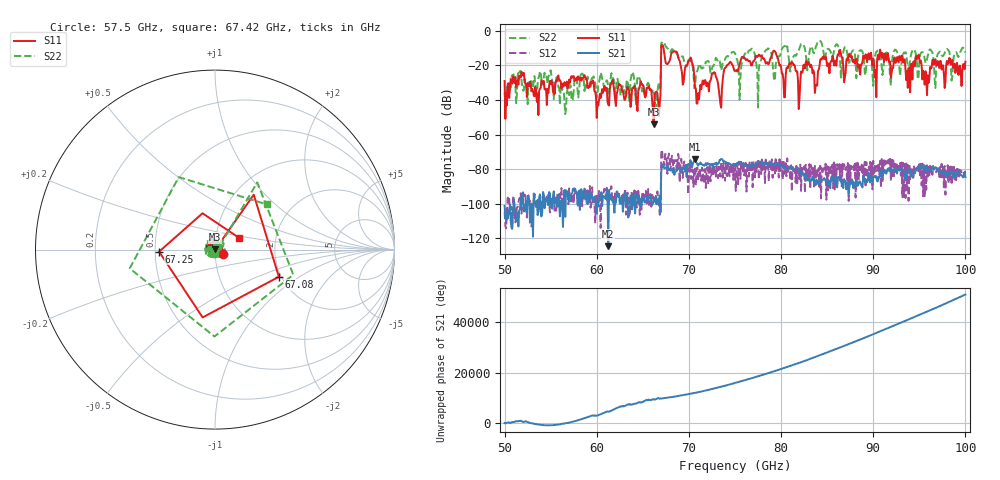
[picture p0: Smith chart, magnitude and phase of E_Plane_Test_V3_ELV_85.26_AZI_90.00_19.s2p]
! 11/26/2026 4:12:07 PM
! C:\ANRITSUVNA\TEMP\TEMP.S2P
! CHANNEL.1
! TR.MEASUREMENT
! RAW.DATA
# HZ S RI R 50.0
! FREQ.HZ  S11RE  S11IM  S21RE  S21IM  S12RE  S12IM  S22RE  S22IM
!; PortSelection: Port_12
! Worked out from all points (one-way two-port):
!   601 points, 50 GHz to 100 GHz, reference 50 ohm
!   highest |S21| = -74.02 dB at 70.67 GHz (marker M1); lowest = -124.4 dB at 61.25 GHz (marker M2)
!   lowest |S11| = -54.0 dB at 66.17 GHz (marker M3), VSWR 1.00, Z = 50.1 + j0.144 ohm
!   |S11| at or under -10 dB: start of sweep to 67 GHz; 67.24 GHz to end of sweep
!   |S22| runs from -48.1 to -5.6 dB; largest |S21 - S12| = 0.00035
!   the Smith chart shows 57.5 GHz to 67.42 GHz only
!   S11 on the Smith chart (normalised r, x): 57.5 GHz: 1.09, -0.05; 67.08 GHz: 1.94, -0.69; 67.25 GHz: 0.53, -0.01; 67.42 GHz: 1.29, +0.18
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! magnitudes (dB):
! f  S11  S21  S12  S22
! 50 GHz  -29.0  -101.2  -104.6  -35.8
! 51.67 GHz  -26.3  -103.4  -97.1  -23.3
! 57.5 GHz  -26.2  -91.2  -99.7  -34.7
! 58.42 GHz  -27.1  -94.0  -101.4  -24.7
! 61.25 GHz  -42.7  -124.4  -93.3  -33.6
! 66.17 GHz  -54.0  -98.8  -96.0  -34.0
! 66.67 GHz  -41.5  -97.3  -98.4  -31.7
! 67.08 GHz  -8.3  -77.7  -68.7  -6.8
! 67.25 GHz  -10.1  -78.8  -75.0  -6.3
! 67.42 GHz  -16.6  -78.9  -71.2  -8.3
! 70.17 GHz  -15.4  -74.8  -84.6  -18.6
! 70.67 GHz  -33.1  -74.0  -79.8  -33.2
! 73.42 GHz  -42.2  -74.5  -84.2  -19.7
! 75 GHz  -23.3  -77.5  -77.2  -13.0
! 79.25 GHz  -11.5  -77.7  -76.4  -28.8
! 80.25 GHz  -28.0  -78.5  -74.5  -9.3
! 83.42 GHz  -24.6  -84.2  -82.6  -10.8
! 91.67 GHz  -16.8  -79.6  -74.4  -15.2
! 93.75 GHz  -33.0  -79.6  -76.6  -21.3
! 94.83 GHz  -15.0  -79.3  -78.4  -27.9
! 95.83 GHz  -37.2  -78.8  -77.7  -16.5
! 100 GHz  -17.9  -84.5  -79.8  -12.6
